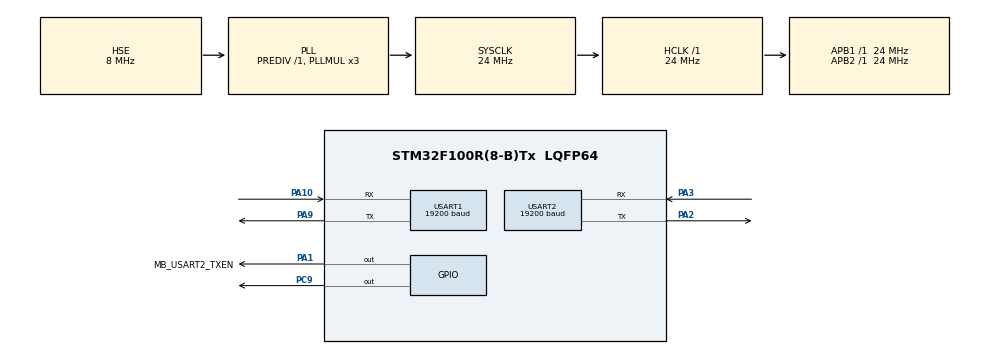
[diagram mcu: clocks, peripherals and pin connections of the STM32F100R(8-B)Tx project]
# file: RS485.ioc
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Mcu.Family=STM32F1
Mcu.Name=STM32F100R(8-B)Tx
Mcu.Package=LQFP64
NVIC.PriorityGroup=NVIC_PRIORITYGROUP_4
NVIC.USART1_IRQn=true\:0\:0\:false\:false\:true\:true
NVIC.USART2_IRQn=true\:0\:0\:false\:false\:true\:true
PA1.GPIO_Label=MB_USART2_TXEN
PA1.GPIO_Speed=GPIO_SPEED_FREQ_HIGH
PA1.Signal=GPIO_Output
PA10.Mode=Asynchronous
PA10.Signal=USART1_RX
PA13.Mode=Serial_Wire
PA13.Signal=SYS_JTMS-SWDIO
PA14.Mode=Serial_Wire
PA14.Signal=SYS_JTCK-SWCLK
PA2.Mode=Asynchronous
PA2.Signal=USART2_TX
PA3.Mode=Asynchronous
PA3.Signal=USART2_RX
PA9.Mode=Asynchronous
PA9.Signal=USART1_TX
PC9.GPIO_Speed=GPIO_SPEED_FREQ_HIGH
PC9.Signal=GPIO_Output
PD0-OSC_IN.Mode=HSE-External-Oscillator
PD0-OSC_IN.Signal=RCC_OSC_IN
PD1-OSC_OUT.Mode=HSE-External-Oscillator
PD1-OSC_OUT.Signal=RCC_OSC_OUT
ProjectManager.HeapSize=0x200
ProjectManager.StackSize=0x400
ProjectManager.TargetToolchain=MDK-ARM V5
RCC.AHBFreq_Value=24000000
RCC.APB1Freq_Value=24000000
RCC.APB1TimFreq_Value=24000000
RCC.APB2Freq_Value=24000000
RCC.APB2TimFreq_Value=24000000
RCC.HCLKFreq_Value=24000000
RCC.PLLMUL=RCC_PLL_MUL3
RCC.PLLSource=RCC_PLLSOURCE_HSE
RCC.SYSCLKFreq_VALUE=24000000
RCC.SYSCLKSource=RCC_SYSCLKSOURCE_PLLCLK
USART1.BaudRate=19200
USART1.VirtualMode=VM_ASYNC
USART2.BaudRate=19200
USART2.VirtualMode=VM_ASYNC
board=custom

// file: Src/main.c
/* USER CODE BEGIN Header */
/**
  ******************************************************************************
  * @file           : main.c
  * @brief          : Main program body
  ******************************************************************************
  ** This notice applies to any and all portions of this file
  * that are not between comment pairs USER CODE BEGIN and
  * USER CODE END. Other portions of this file, whether
  * inserted by the user or by software development tools
  * are owned by their respective copyright owners.
  *
  * COPYRIGHT(c) 2019 STMicroelectronics
  *
  * Redistribution and use in source and binary forms, with or without modification,
  * are permitted provided that the following conditions are met:
  *   1. Redistributions of source code must retain the above copyright notice,
  *      this list of conditions and the following disclaimer.
  *   2. Redistributions in binary form must reproduce the above copyright notice,
  *      this list of conditions and the following disclaimer in the documentation
  *      and/or other materials provided with the distribution.
  *   3. Neither the name of STMicroelectronics nor the names of its contributors
  *      may be used to endorse or promote products derived from this software
  *      without specific prior written permission.
  *
  * THIS SOFTWARE IS PROVIDED BY THE COPYRIGHT HOLDERS AND CONTRIBUTORS "AS IS"
  * AND ANY EXPRESS OR IMPLIED WARRANTIES, INCLUDING, BUT NOT LIMITED TO, THE
  * IMPLIED WARRANTIES OF MERCHANTABILITY AND FITNESS FOR A PARTICULAR PURPOSE ARE
  * DISCLAIMED. IN NO EVENT SHALL THE COPYRIGHT HOLDER OR CONTRIBUTORS BE LIABLE
  * FOR ANY DIRECT, INDIRECT, INCIDENTAL, SPECIAL, EXEMPLARY, OR CONSEQUENTIAL
  * DAMAGES (INCLUDING, BUT NOT LIMITED TO, PROCUREMENT OF SUBSTITUTE GOODS OR
  * SERVICES; LOSS OF USE, DATA, OR PROFITS; OR BUSINESS INTERRUPTION) HOWEVER
  * CAUSED AND ON ANY THEORY OF LIABILITY, WHETHER IN CONTRACT, STRICT LIABILITY,
  * OR TORT (INCLUDING NEGLIGENCE OR OTHERWISE) ARISING IN ANY WAY OUT OF THE USE
  * OF THIS SOFTWARE, EVEN IF ADVISED OF THE POSSIBILITY OF SUCH DAMAGE.
  *
  ******************************************************************************
  */
/* USER CODE END Header */

#include "main.h"
//#include "ringbuffer.h"

UART_HandleTypeDef huart1;
UART_HandleTypeDef huart2;
uint8_t byte;
RingBuffer  mbRxRingBuf;
uint8_t     mbRxBuf[200];
uint16_t MBResponseTimeout = 300;

void SystemClock_Config(void);
static void MX_GPIO_Init(void);
static void MX_USART1_UART_Init(void);
static void MX_USART2_UART_Init(void);
void RS485_preTransmission(void);
void RS485_postTransmission(void);
static inline uint8_t lowByte(uint16_t);
static inline uint8_t highByte(uint16_t);
uint16_t CRC16(uint8_t *, uint16_t);
void debbugXui(char*);//uint8_t*);

/* USER CODE BEGIN 0 */
uint16_t CRC16(uint8_t *pucData, uint16_t usLen) {
	uint16_t usResult, usI, usJ;

	usResult = 0xFFFF;
	usI = 0;

	while (usI < usLen) {
		usResult ^= (uint16_t)*(pucData + usI);

		for (usJ = 0; usJ < 8; usJ++) {
			if (usResult & 0x0001) {
				// ????? ?????? CARRY ????? 1
				usResult	= usResult >> 1;
				usResult	^= 0xA001;

			} else {
				// ????? ?????? CARRY ????? 1
				usResult	= usResult >> 1;
			}
		}
		usI++;
	}

	return usResult;
}

void ModBusRead(uint16_t adr, uint16_t len) {
	//uint8_t buf[8]    = {	0x01, 					0x03, 		adr / 256, adr % 256, 	len / 256, len % 256,			0x00, 0x00};

	//uint8_t bufFAULT[8] = {0x1, 0x03, highByte(0x1BD1), lowByte(0x1BD1), highByte(0x01), lowByte(0x01), 0x00, 0x00};
	//uint16_t rez2	= CRC16(bufFAULT, 6);
	//bufFAULT[6] = rez2 % 256;
	//bufFAULT[7] = rez2 / 256;
	//HAL_UART_Transmit(&huart2, bufRESET, 8, 0x100);
	//uint8_t rez2 = ("%d") len;

	uint8_t buf[8]    = {0x01, 0x03, highByte(adr), lowByte(adr), highByte(len), lowByte(len),	0x00, 0x00};
	uint8_t buf2[25];
	uint16_t rez	= CRC16(buf, 6);
	buf[6] = rez % 256;
	buf[7] = rez / 256;
  uint8_t xresult;
	uint8_t xRespBtCnt = len*2 + 5;
	uint8_t mbADUSize = 0;
	RS485_preTransmission();

	if (HAL_UART_Transmit(&huart2, buf, 8, 0x100) != HAL_OK) return;

	RS485_postTransmission();
  uint32_t u32StartTime = Modbus_Master_Millis();
	uint8_t TimeOUTState = 0;
	while(xRespBtCnt != 0 && !TimeOUTState){
	//while(!TimeOUTState){
	//	xresult = HAL_UART_Receive(&huart2, buf2, xRespBtCnt, 0x100);
 	//xresult = HAL_UART_Receive(&huart2, &byte, 1, 0x100);
		xresult = Modbus_Master_Rece_Handler();//(&xRespBtCnt);
		if(xresult == HAL_OK){
 			xRespBtCnt--;
			HAL_GPIO_WritePin(GPIOC, GPIO_PIN_9, GPIO_PIN_SET);
			if (Modbus_Master_Rece_Available())
			{
				buf2[mbADUSize++] = Modbus_Master_Read();
				//u8BytesLeft--;
			}
      //rbPush(&mbRxRingBuf, (uint8_t)(byte & (uint8_t)0xFFU));
		}
		else if(xresult == HAL_ERROR){
			debbugXui("ERR");
			//HAL_Delay(100);
		}
		if ((Modbus_Master_Millis() - u32StartTime) > MBResponseTimeout)
    {
			TimeOUTState = 1;
			debbugXui("TIM");
      //u8MBStatus = ku8MBResponseTimedOut;//226
    }
	}
	if(xRespBtCnt == 0){
		debbugXui("KYL");
	}
	else debbugXui("BAD");
}

void debbugXui(char* receiveVal){//(uint8_t* receiveVal){
	char str[30];
	sprintf(str,"%s",receiveVal);
	//sprintf(str+2,"%x",buf2[4]);
			//sprintf(str+3,"%x",buf2[5]);
			//sprintf(str+4,"%x",buf2[6]);
			//sprintf(str+6,"%x",buf2[7]);
			//sprintf(str+7,"%x",buf2[8]);
			//sprintf(str+9,"%x",buf2[9]);
			//sprintf(str+10,"%x",buf2[10]);
			//HAL_GPIO_WritePin(GPIOC, GPIO_PIN_9, GPIO_PIN_SET);
	//HAL_Delay(1000);
	HAL_UART_Transmit(&huart1, (uint8_t*)receiveVal, sizeof(receiveVal), 0x100);
	HAL_UART_Transmit(&huart1, (uint8_t*)"\r\n", 2, 0x100);
}
/*
static inline uint8_t lowByte(uint16_t ww)
{
  return (uint8_t) ((ww) & 0x00FF);
}

static inline uint8_t highByte(uint16_t ww)
{
  return (uint8_t) ((ww) >> 8);
}*/
void RS485_preTransmission() {
    HAL_GPIO_WritePin(MB_USART2_TXEN_GPIO_Port, MB_USART2_TXEN_Pin, GPIO_PIN_SET);
    //HAL_GPIO_WritePin(GPIOC, GPIO_PIN_9, GPIO_PIN_SET);// TODO: :??? ???????, ?????? !!!
}

void RS485_postTransmission() {
    HAL_GPIO_WritePin(MB_USART2_TXEN_GPIO_Port, MB_USART2_TXEN_Pin, GPIO_PIN_RESET);
    //HAL_GPIO_WritePin(GPIOC, GPIO_PIN_9, GPIO_PIN_RESET);// TODO: :??? ???????, ?????? !!!
}
/* USER CODE END 0 */

int main(void)
{

  /* MCU Configuration--------------------------------------------------------*/

  /* Reset of all peripherals, Initializes the Flash interface and the Systick. */
  HAL_Init();

  /* Configure the system clock */
  SystemClock_Config();

  /* Initialize all configured peripherals */
  MX_GPIO_Init();
  MX_USART1_UART_Init();
  MX_USART2_UART_Init();
  /* USER CODE BEGIN 2 */
	rbInitialize(&mbRxRingBuf, mbRxBuf, sizeof(mbRxBuf));
	//HAL_UART_Receive(&huart1, &byte, 1, 0x100);
  //uint8_t  byt[10] = "hui";
	//byte = "hu";
  /* USER CODE END 2 */

  /* Infinite loop */
  while (1)
  {
		ModbusMaster_writeSingleRegister(0x1, 0x2199,0x8D);
		HAL_GPIO_WritePin(GPIOC, GPIO_PIN_9, GPIO_PIN_RESET);
		ModBusRead(0x0C1E, 4);//0x0004);
		HAL_Delay(100);
		//ModBusRead(0x1BD1, 1);//0x0004);//Read LastFault Register.(if value = 5 - SLF)...
		//TODO
		/*
		if(ModBusRead(0x1BD1, 1) != 0) ModbusMaster_writeSingleRegister(0x1, 0x2199,0x8D);
		*/
		/*
		RS485_preTransmission();
		HAL_UART_Transmit(&huart2, &byte, 1, 0x1000 );
    RS485_postTransmission();

		HAL_Delay(100);

		HAL_UART_Receive(&huart2, &byte, 1, 0x100);
    */
  }
}

void SystemClock_Config(void)
{
  RCC_OscInitTypeDef RCC_OscInitStruct = {0};
  RCC_ClkInitTypeDef RCC_ClkInitStruct = {0};

  /**Initializes the CPU, AHB and APB busses clocks
  */
  RCC_OscInitStruct.OscillatorType = RCC_OSCILLATORTYPE_HSE;
  RCC_OscInitStruct.HSEState = RCC_HSE_ON;
  RCC_OscInitStruct.HSEPredivValue = RCC_HSE_PREDIV_DIV1;
  RCC_OscInitStruct.PLL.PLLState = RCC_PLL_ON;
  RCC_OscInitStruct.PLL.PLLSource = RCC_PLLSOURCE_HSE;
  RCC_OscInitStruct.PLL.PLLMUL = RCC_PLL_MUL3;
  if (HAL_RCC_OscConfig(&RCC_OscInitStruct) != HAL_OK)
  {
    Error_Handler();
  }
  /**Initializes the CPU, AHB and APB busses clocks
  */
  RCC_ClkInitStruct.ClockType = RCC_CLOCKTYPE_HCLK|RCC_CLOCKTYPE_SYSCLK
                              |RCC_CLOCKTYPE_PCLK1|RCC_CLOCKTYPE_PCLK2;
  RCC_ClkInitStruct.SYSCLKSource = RCC_SYSCLKSOURCE_PLLCLK;
  RCC_ClkInitStruct.AHBCLKDivider = RCC_SYSCLK_DIV1;
  RCC_ClkInitStruct.APB1CLKDivider = RCC_HCLK_DIV1;
  RCC_ClkInitStruct.APB2CLKDivider = RCC_HCLK_DIV1;

  if (HAL_RCC_ClockConfig(&RCC_ClkInitStruct, FLASH_LATENCY_0) != HAL_OK)
  {
    Error_Handler();
  }
}

static void MX_USART1_UART_Init(void)
{

  huart1.Instance = USART1;
  huart1.Init.BaudRate = 19200;
  huart1.Init.WordLength = UART_WORDLENGTH_8B;
  huart1.Init.StopBits = UART_STOPBITS_1;
  huart1.Init.Parity = UART_PARITY_NONE;
  huart1.Init.Mode = UART_MODE_TX_RX;
  huart1.Init.HwFlowCtl = UART_HWCONTROL_NONE;
  huart1.Init.OverSampling = UART_OVERSAMPLING_16;
  if (HAL_UART_Init(&huart1) != HAL_OK)
  {
    Error_Handler();
  }

}

static void MX_USART2_UART_Init(void)
{

  huart2.Instance = USART2;
  huart2.Init.BaudRate = 19200;
  huart2.Init.WordLength = UART_WORDLENGTH_8B;
  huart2.Init.StopBits = UART_STOPBITS_1;
  huart2.Init.Parity = UART_PARITY_NONE;
  huart2.Init.Mode = UART_MODE_TX_RX;
  huart2.Init.HwFlowCtl = UART_HWCONTROL_NONE;
  huart2.Init.OverSampling = UART_OVERSAMPLING_16;
  if (HAL_UART_Init(&huart2) != HAL_OK)
  {
    Error_Handler();
  }

}

static void MX_GPIO_Init(void)
{
  GPIO_InitTypeDef GPIO_InitStruct = {0};

  /* GPIO Ports Clock Enable */
  __HAL_RCC_GPIOD_CLK_ENABLE();
  __HAL_RCC_GPIOA_CLK_ENABLE();
  __HAL_RCC_GPIOC_CLK_ENABLE();

  /*Configure GPIO pin Output Level */
  HAL_GPIO_WritePin(MB_USART2_TXEN_GPIO_Port, MB_USART2_TXEN_Pin, GPIO_PIN_RESET);

  /*Configure GPIO pin Output Level */
  HAL_GPIO_WritePin(GPIOC, GPIO_PIN_9, GPIO_PIN_RESET);

  /*Configure GPIO pin : MB_USART2_TXEN_Pin */
  GPIO_InitStruct.Pin = MB_USART2_TXEN_Pin;
  GPIO_InitStruct.Mode = GPIO_MODE_OUTPUT_PP;
  GPIO_InitStruct.Pull = GPIO_NOPULL;
  GPIO_InitStruct.Speed = GPIO_SPEED_FREQ_HIGH;
  HAL_GPIO_Init(MB_USART2_TXEN_GPIO_Port, &GPIO_InitStruct);

  /*Configure GPIO pin : PC9 */
  GPIO_InitStruct.Pin = GPIO_PIN_9;
  GPIO_InitStruct.Mode = GPIO_MODE_OUTPUT_PP;
  GPIO_InitStruct.Pull = GPIO_NOPULL;
  GPIO_InitStruct.Speed = GPIO_SPEED_FREQ_HIGH;
  HAL_GPIO_Init(GPIOC, &GPIO_InitStruct);

}

/* USER CODE BEGIN 4 */

/* This callback is called by the HAL_UART_IRQHandler when the given number of bytes are received */

//void HAL_UART_RxCpltCallback(UART_HandleTypeDef *huart)
//{
	//huart->Instance
  //if (huart->Instance == USART2)
  //{
    /* Transmit one byte with 100 ms timeout */
    //HAL_UART_Transmit(&huart2, &byte, 1, 100);

    /* Receive one byte in interrupt mode */
    //HAL_UART_Receive_IT(&huart2, &byte, 1);
  //}
//}

/* USER CODE END 4 */

void Error_Handler(void)
{
}

/************************ (C) COPYRIGHT STMicroelectronics *****END OF FILE****/
